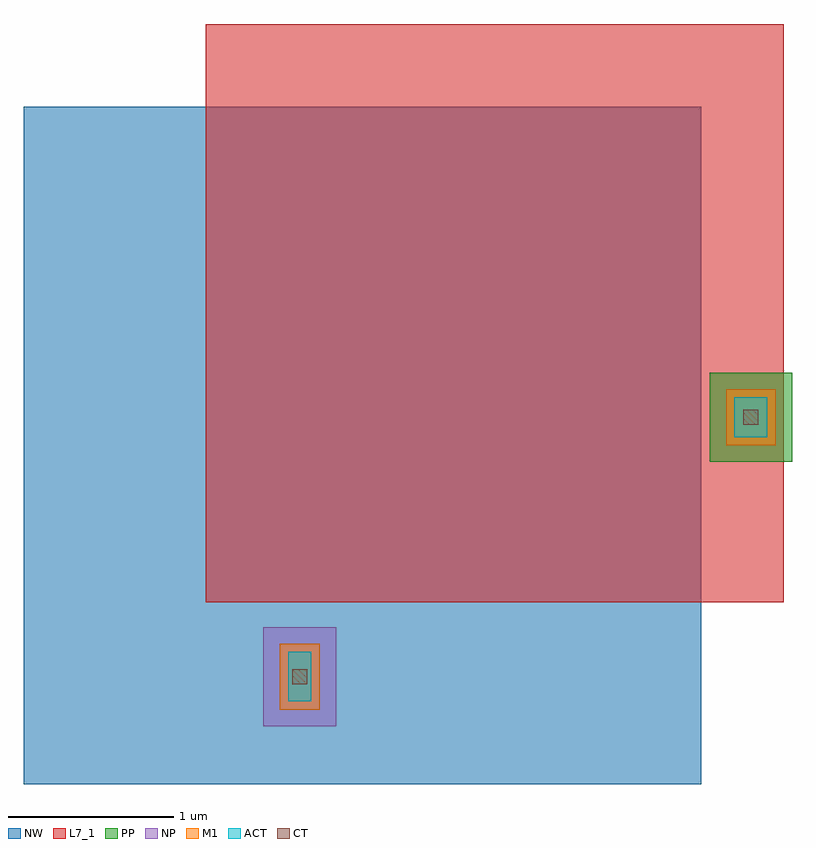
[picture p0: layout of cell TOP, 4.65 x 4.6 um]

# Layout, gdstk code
import gdstk
lib = gdstk.Library(unit=1e-6, precision=1e-09)
def R(c, l, rs):  # rectangles x0, y0, x1, y1
    for r in rs: c.add(gdstk.rectangle(r[:2], r[2:], *l))
ACT = (2, 1)
L7_1 = (7, 1)
NW = (9, 1)
NP = (52, 1)
PP = (53, 1)
CT = (72, 1)
M1 = (81, 1)

top = lib.new_cell('TOP')
R(top, ACT, [(0.5,-0.6,0.64,-0.3), (3.2,1,3.4,1.24)])
R(top, L7_1, [(0,0,3.5,3.5)])
R(top, NW, [(-1.1,-1.1,3,3)])
R(top, NP, [(0.35,-0.75,0.79,-0.15)])
R(top, PP, [(3.05,0.85,3.55,1.39)])
R(top, CT, [(0.525,-0.495,0.615,-0.405), (3.255,1.075,3.345,1.165)])
R(top, M1, [(0.45,-0.65,0.69,-0.25), (3.15,0.95,3.45,1.29)])

lib.write_gds('TOP.gds')
